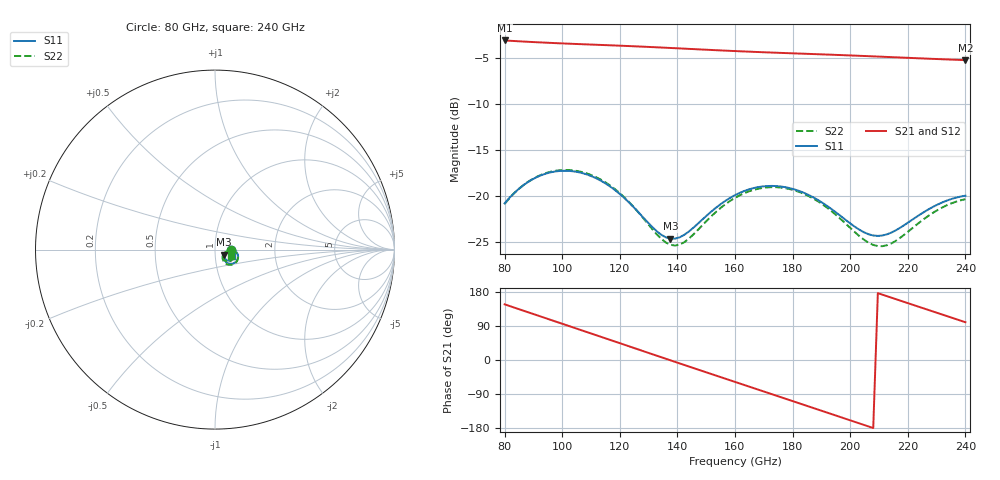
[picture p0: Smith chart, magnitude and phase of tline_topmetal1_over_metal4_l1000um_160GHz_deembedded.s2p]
! Created with skrf 2.2.0 (http://scikit-rf.org).
# GHz S DB R 50.0
! Port[1] = P1
! Port[2] = P2
!freq dBS11 angS11 dBS21 angS21 dBS12 angS12 dBS22 angS22
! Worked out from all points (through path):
!   101 points, 80 GHz to 240 GHz, reference 50 ohm
!   highest |S21| = -3.05 dB at 80 GHz (marker M1); lowest = -5.2 dB at 240 GHz (marker M2)
!   group delay of S21, straight-line fit = 7.07 ps
!   lowest |S11| = -24.7 dB at 137.6 GHz (marker M3), VSWR 1.12, Z = 55.3 - j3.09 ohm
!   |S11| at or under -10 dB: start of sweep to end of sweep
!   |S22| runs from -25.5 to -17.2 dB; largest |S21 - S12| = 8e-14
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80  -20.82 -0.5  -3.05 146.9  -3.05 146.9  -20.88 -1.6
88  -18.52 -6.2  -3.20 126.4  -3.20 126.4  -18.50 -7.5
94.4  -17.57 -14.3  -3.30 110.0  -3.30 110.0  -17.51 -16.0
100.8  -17.27 -23.5  -3.38 93.6  -3.38 93.6  -17.18 -25.6
107.2  -17.54 -32.7  -3.47 77.2  -3.47 77.2  -17.43 -35.3
113.6  -18.38 -40.9  -3.54 60.8  -3.54 60.8  -18.27 -44.2
121.6  -20.25 -47.7  -3.64 40.2  -3.64 40.2  -20.17 -52.3
128  -22.32 -47.2  -3.73 23.8  -3.73 23.8  -22.39 -53.0
134.4  -24.25 -37.0  -3.82 7.4  -3.82 7.4  -24.70 -43.5
137.6  -24.68 -28.5  -3.87 -0.8  -3.87 -0.8  -25.35 -34.2
142.4  -24.25 -15.8  -3.95 -13.1  -3.95 -13.1  -25.06 -19.3
148.8  -22.55 -7.0  -4.04 -29.4  -4.04 -29.4  -23.17 -8.5
160  -19.93 -10.2  -4.21 -57.8  -4.21 -57.8  -20.23 -11.4
172.8  -18.92 -24.2  -4.37 -90.2  -4.37 -90.2  -19.06 -26.5
179.2  -19.18 -31.7  -4.45 -106.4  -4.45 -106.4  -19.28 -34.7
187.2  -20.17 -39.3  -4.54 -126.7  -4.54 -126.7  -20.30 -43.5
195.2  -21.84 -42.5  -4.63 -147.0  -4.63 -147.0  -22.12 -48.1
201.6  -23.37 -39.0  -4.71 -163.3  -4.71 -163.3  -23.96 -45.4
208  -24.33 -29.0  -4.79 -179.5  -4.79 -179.5  -25.36 -34.4
214.4  -24.00 -17.5  -4.87 164.3  -4.87 164.3  -25.18 -19.6
228.8  -21.20 -11.8  -5.06 127.9  -5.06 127.9  -21.84 -10.9
240  -19.99 -20.7  -5.20 99.7  -5.20 99.7  -20.37 -20.1
